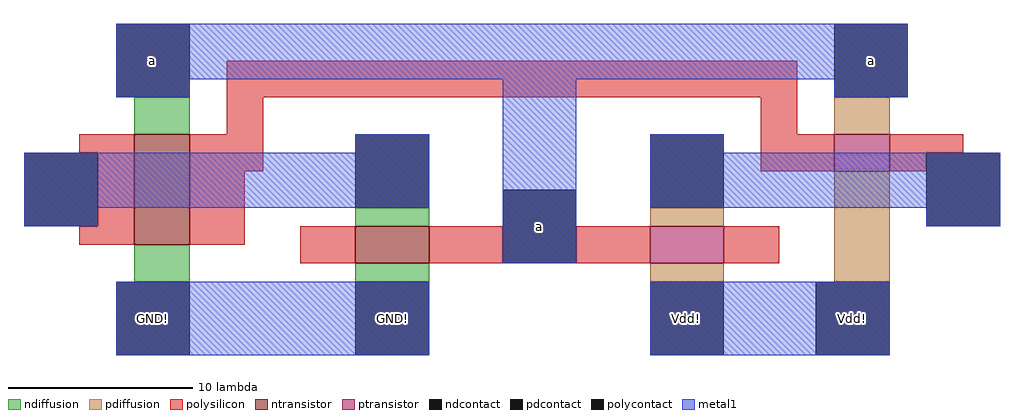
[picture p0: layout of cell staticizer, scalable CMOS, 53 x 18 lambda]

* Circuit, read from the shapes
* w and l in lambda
.subckt staticizer GND! Vdd! a
M1 a n1 GND! VSUBS nfet w=3 l=6
M2 n1 a GND! VSUBS nfet w=4 l=2
M3 n1 a Vdd! NWELL pfet w=4 l=2
M4 a n1 Vdd! NWELL pfet w=3 l=2
.ends

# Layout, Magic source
magic
tech scmos
<< ndiffusion >>
rect -75 338 -72 340
rect -63 333 -59 334
rect -75 330 -72 332
rect -63 330 -59 331
<< pdiffusion >>
rect -37 338 -34 340
rect -47 333 -43 334
rect -47 330 -43 331
rect -37 330 -34 336
<< ntransistor >>
rect -75 332 -72 338
rect -63 331 -59 333
<< ptransistor >>
rect -37 336 -34 338
rect -47 331 -43 333
<< polysilicon >>
rect -70 340 -39 342
rect -70 338 -68 340
rect -41 338 -39 340
rect -78 337 -75 338
rect -77 333 -75 337
rect -78 332 -75 333
rect -72 336 -68 338
rect -72 332 -69 336
rect -66 331 -63 333
rect -59 331 -55 333
rect -41 336 -37 338
rect -34 337 -30 338
rect -34 336 -32 337
rect -51 331 -47 333
rect -43 331 -40 333
<< ndcontact >>
rect -76 340 -72 344
rect -63 334 -59 338
rect -76 326 -72 330
rect -63 326 -59 330
<< pdcontact >>
rect -37 340 -33 344
rect -47 334 -43 338
rect -47 326 -43 330
rect -38 326 -34 330
<< polycontact >>
rect -81 333 -77 337
rect -55 331 -51 335
rect -32 333 -28 337
<< metal1 >>
rect -76 341 -33 344
rect -76 340 -72 341
rect -63 337 -59 338
rect -81 334 -59 337
rect -81 333 -77 334
rect -55 331 -51 341
rect -37 340 -33 341
rect -47 337 -43 338
rect -47 334 -28 337
rect -32 333 -28 334
rect -76 326 -59 330
rect -47 326 -34 330
<< labels >>
rlabel polycontact -53 333 -53 333 1 a
rlabel ndcontact -74 342 -74 342 4 a
rlabel pdcontact -35 342 -35 342 5 a
rlabel pdcontact -45 328 -45 328 1 Vdd!
rlabel pdcontact -36 328 -36 328 1 Vdd!
rlabel ndcontact -61 328 -61 328 1 GND!
rlabel ndcontact -74 328 -74 328 1 GND!
<< end >>
